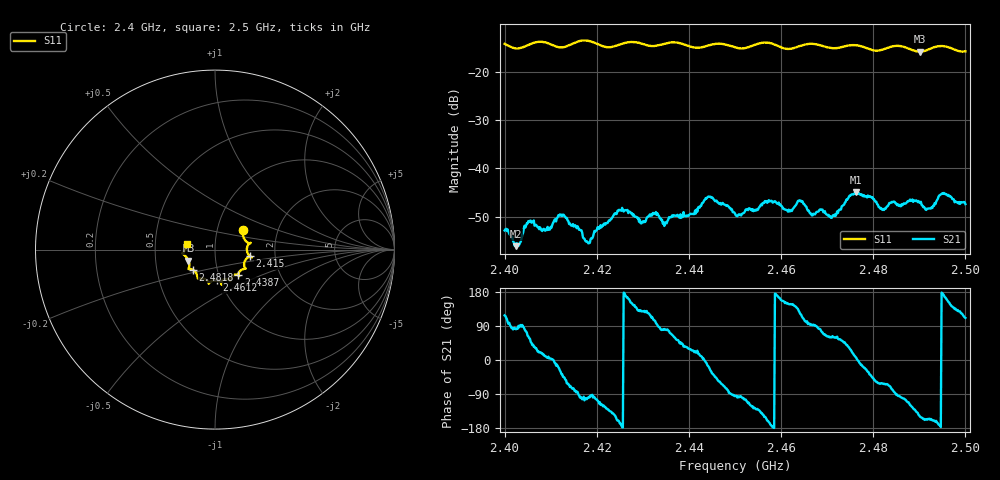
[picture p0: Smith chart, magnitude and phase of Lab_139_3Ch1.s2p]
# Hz S RI R 50
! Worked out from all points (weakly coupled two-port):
!   601 points, 2.4 GHz to 2.5 GHz, reference 50 ohm
!   highest |S21| = -44.92 dB at 2.4762 GHz (marker M1); lowest = -56.1 dB at 2.4025 GHz (marker M2)
!   lowest |S11| = -15.9 dB at 2.4902 GHz (marker M3), VSWR 1.38, Z = 36.9 - j4.61 ohm
!   |S11| at or under -10 dB: start of sweep to end of sweep
!   S12 and S22 are empty: the file has one direction only
!   S11 on the Smith chart (normalised r, x): 2.4 GHz: 1.33, +0.31; 2.415 GHz: 1.47, -0.11; 2.4387 GHz: 1.24, -0.36; 2.4612 GHz: 0.96, -0.34; 2.4818 GHz: 0.76, -0.18; 2.5 GHz: 0.73, +0.05
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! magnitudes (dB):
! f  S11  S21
! 2.4 GHz  -14.3  -52.8
! 2.4025 GHz  -15.2  -56.1
! 2.4053 GHz  -14.4  -51.1
! 2.4123 GHz  -15.0  -49.6
! 2.415 GHz  -14.1  -52.0
! 2.4167 GHz  -13.6  -52.8
! 2.4185 GHz  -13.7  -55.4
! 2.425 GHz  -14.4  -48.6
! 2.4333 GHz  -14.6  -49.7
! 2.4387 GHz  -14.3  -50.1
! 2.4445 GHz  -14.5  -45.9
! 2.45 GHz  -15.0  -49.3
! 2.4573 GHz  -14.1  -46.6
! 2.4612 GHz  -15.3  -48.6
! 2.4642 GHz  -14.7  -46.8
! 2.4667 GHz  -14.3  -49.7
! 2.4713 GHz  -15.2  -49.7
! 2.4762 GHz  -14.6  -44.9
! 2.4818 GHz  -15.5  -48.4
! 2.4833 GHz  -15.0  -47.5
! 2.4902 GHz  -15.9  -47.2
! 2.5 GHz  -15.8  -47.4
